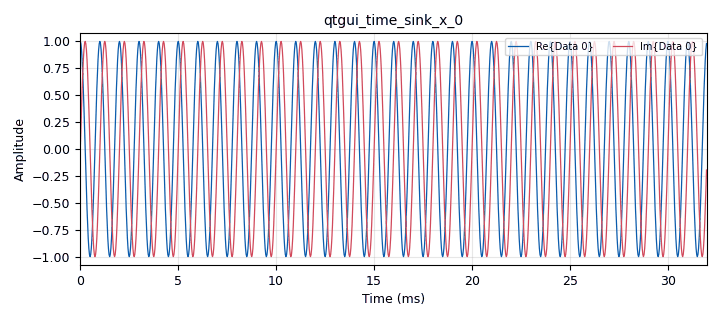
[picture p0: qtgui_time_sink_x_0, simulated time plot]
<?xml version='1.0' encoding='utf-8'?>
<?grc format='1' created='3.7.11'?>
<flow_graph>
<block>
<key>options</key>
<param><key>id</key><value>top_block</value></param>
<param><key>generate_options</key><value>qt_gui</value></param>
</block>
<block>
<key>variable</key>
<param><key>id</key><value>samp_rate</value></param>
<param><key>value</key><value>32000</value></param>
</block>
<block>
<key>analog_sig_source_x</key>
<param><key>id</key><value>analog_sig_source_x_0</value></param>
<param><key>amp</key><value>1</value></param>
<param><key>freq</key><value>1000</value></param>
<param><key>offset</key><value>0</value></param>
<param><key>type</key><value>complex</value></param>
<param><key>samp_rate</key><value>samp_rate</value></param>
<param><key>waveform</key><value>analog.GR_COS_WAVE</value></param>
</block>
<block>
<key>analog_sig_source_x</key>
<param><key>id</key><value>analog_sig_source_x_1</value></param>
<param><key>amp</key><value>1</value></param>
<param><key>freq</key><value>2000</value></param>
<param><key>offset</key><value>0</value></param>
<param><key>type</key><value>complex</value></param>
<param><key>samp_rate</key><value>samp_rate</value></param>
<param><key>waveform</key><value>analog.GR_COS_WAVE</value></param>
</block>
<block>
<key>analog_sig_source_x</key>
<param><key>id</key><value>analog_sig_source_x_2</value></param>
<param><key>amp</key><value>1</value></param>
<param><key>freq</key><value>3000</value></param>
<param><key>offset</key><value>0</value></param>
<param><key>type</key><value>complex</value></param>
<param><key>samp_rate</key><value>samp_rate</value></param>
<param><key>waveform</key><value>analog.GR_COS_WAVE</value></param>
</block>
<block>
<key>analog_sig_source_x</key>
<param><key>id</key><value>analog_sig_source_x_3</value></param>
<param><key>amp</key><value>1</value></param>
<param><key>freq</key><value>4000</value></param>
<param><key>offset</key><value>0</value></param>
<param><key>type</key><value>complex</value></param>
<param><key>samp_rate</key><value>samp_rate</value></param>
<param><key>waveform</key><value>analog.GR_COS_WAVE</value></param>
</block>
<block>
<key>analog_sig_source_x</key>
<param><key>id</key><value>analog_sig_source_x_4</value></param>
<param><key>amp</key><value>1</value></param>
<param><key>freq</key><value>5000</value></param>
<param><key>offset</key><value>0</value></param>
<param><key>type</key><value>complex</value></param>
<param><key>samp_rate</key><value>samp_rate</value></param>
<param><key>waveform</key><value>analog.GR_COS_WAVE</value></param>
</block>
<block>
<key>analog_sig_source_x</key>
<param><key>id</key><value>analog_sig_source_x_5</value></param>
<param><key>amp</key><value>1</value></param>
<param><key>freq</key><value>1000</value></param>
<param><key>offset</key><value>0</value></param>
<param><key>type</key><value>complex</value></param>
<param><key>samp_rate</key><value>samp_rate</value></param>
<param><key>waveform</key><value>analog.GR_COS_WAVE</value></param>
</block>
<block>
<key>blocks_message_debug</key>
<param><key>id</key><value>blocks_message_debug_0</value></param>
</block>
<block>
<key>epy_block</key>
<param><key>id</key><value>epy_block_0</value></param>
<param><key>_source_code</key><value>"""
Embedded Python Blocks:

Each time this file is saved, GRC will instantiate the first class it finds
to get ports and parameters of your block. The arguments to __init__  will
be the parameters. All of them are required to have default values!
"""

import numpy as np
from gnuradio import gr
import pmt

class blk(gr.sync_block):  # other base classes are basic_block, decim_block, interp_block
    """Embedded Python Block example - a simple multiply const"""

    def __init__(self):  # only default arguments here
        """arguments to this function show up as parameters in GRC"""
        gr.sync_block.__init__(
            self,
            name='Multiplexer',   # will show up in GRC
            in_sig=[np.complex64, np.complex64, np.complex64, np.complex64, np.complex64],
            out_sig=[np.complex64]
        )
        # if an attribute with the same name as a parameter is found,
        # a callback is registered (properties work, too).
        self.selectPortName= 'selectPort'
        self.message_port_register_in(pmt.intern(self.selectPortName))
        self.set_msg_handler(pmt.intern(self.selectPortName), self.handle_msg)
        self.selector = 0
    
    def handle_msg(self, msg):
        self.selector = pmt.to_long(msg)
    
    def work(self, input_items, output_items):
        """example: multiply with constant"""
        if(self.selector == 0):
            output_items[0][:] = input_items[0]
        elif(self.selector == 1):
            output_items[0][:] = input_items[1]
        elif(self.selector == 2):
            output_items[0][:] = input_items[2]
        elif(self.selector == 3):
            output_items[0][:] = input_items[3]
        else:
            output_items[0][:] = input_items[4]
        return len(output_items[0])
</value></param>
</block>
<block>
<key>epy_block</key>
<param><key>id</key><value>epy_block_1</value></param>
<param><key>_source_code</key><value>"""
Embedded Python Blocks:

Each time this file is saved, GRC will instantiate the first class it finds
to get ports and parameters of your block. The arguments to __init__  will
be the parameters. All of them are required to have default values!
"""

import numpy as np
from gnuradio import gr
import pmt

class blk(gr.sync_block):  # other base classes are basic_block, decim_block, interp_block
    """Embedded Python Block example - a simple multiply const"""

    def __init__(self, Num_Samples_To_Count=128):  # only default arguments here
        """arguments to this function show up as parameters in GRC"""
        gr.sync_block.__init__(
            self,
            name='Select Control',   # will show up in GRC
            in_sig=[np.complex64],
            out_sig=[np.complex64]
        )
        # if an attribute with the same name as a parameter is found,
        # a callback is registered (properties work, too).
        self.Num_Samples_To_Count = Num_Samples_To_Count
        self.portName = 'messageOutput'
        self.message_port_register_out(pmt.intern(self.portName))
        self.state = 0
        self.counter = 0

    def work(self, input_items, output_items):
        """example: multiply with constant"""
        self.counter = self.counter + len(output_items[0])
        
        if (self.counter &gt; self.Num_Samples_To_Count):
            PMT_msg = pmt.from_long(self.state)
            self.message_port_pub(pmt.intern(self.portName), PMT_msg)
            self.state = (self.state + 1) % 5
            self.counter = 0
            
        output_items[0][:]=input_items[0]
        return len(output_items[0])
</value></param>
<param><key>Num_Samples_To_Count</key><value>32000000</value></param>
</block>
<block>
<key>qtgui_time_sink_x</key>
<param><key>id</key><value>qtgui_time_sink_x_0</value></param>
<param><key>color1</key><value>"blue"</value></param>
<param><key>label1</key><value></value></param>
<param><key>color2</key><value>"red"</value></param>
<param><key>label2</key><value></value></param>
<param><key>size</key><value>1024</value></param>
<param><key>srate</key><value>samp_rate</value></param>
<param><key>type</key><value>complex</value></param>
</block>
<block>
<key>qtgui_time_sink_x</key>
<param><key>id</key><value>qtgui_time_sink_x_1</value></param>
<param><key>color1</key><value>"blue"</value></param>
<param><key>label1</key><value></value></param>
<param><key>color2</key><value>"red"</value></param>
<param><key>label2</key><value></value></param>
<param><key>size</key><value>1024</value></param>
<param><key>srate</key><value>samp_rate</value></param>
<param><key>type</key><value>complex</value></param>
</block>
<block>
<key>uhd_usrp_sink</key>
<param><key>id</key><value>uhd_usrp_sink_0</value></param>
<param><key>ant0</key><value>TX/RX</value></param>
<param><key>bw0</key><value>100</value></param>
<param><key>center_freq0</key><value>2400e6</value></param>
<param><key>norm_gain0</key><value>False</value></param>
<param><key>gain0</key><value>45</value></param>
<param><key>clock_rate</key><value>0.0</value></param>
<param><key>dev_args</key><value>""</value></param>
<param><key>type</key><value>fc32</value></param>
<param><key>samp_rate</key><value>samp_rate</value></param>
<param><key>hide_cmd_port</key><value>False</value></param>
<param><key>hide_lo_controls</key><value>True</value></param>
<param><key>sync</key><value></value></param>
<param><key>len_tag_name</key><value></value></param>
</block>
<block>
<key>uhd_usrp_source</key>
<param><key>id</key><value>uhd_usrp_source_0</value></param>
<param><key>ant0</key><value>RX2</value></param>
<param><key>center_freq0</key><value>2400e6</value></param>
<param><key>dc_offs_enb0</key><value>""</value></param>
<param><key>iq_imbal_enb0</key><value>""</value></param>
<param><key>norm_gain0</key><value>False</value></param>
<param><key>gain0</key><value>45</value></param>
<param><key>clock_rate</key><value>0.0</value></param>
<param><key>dev_args</key><value>""</value></param>
<param><key>type</key><value>fc32</value></param>
<param><key>samp_rate</key><value>samp_rate</value></param>
<param><key>hide_cmd_port</key><value>False</value></param>
<param><key>hide_lo_controls</key><value>True</value></param>
<param><key>sync</key><value></value></param>
</block>
<connection><source_block_id>analog_sig_source_x_0</source_block_id><sink_block_id>epy_block_0</sink_block_id><source_key>0</source_key><sink_key>0</sink_key></connection>
<connection><source_block_id>analog_sig_source_x_1</source_block_id><sink_block_id>epy_block_0</sink_block_id><source_key>0</source_key><sink_key>1</sink_key></connection>
<connection><source_block_id>analog_sig_source_x_2</source_block_id><sink_block_id>epy_block_0</sink_block_id><source_key>0</source_key><sink_key>2</sink_key></connection>
<connection><source_block_id>analog_sig_source_x_3</source_block_id><sink_block_id>epy_block_0</sink_block_id><source_key>0</source_key><sink_key>3</sink_key></connection>
<connection><source_block_id>analog_sig_source_x_4</source_block_id><sink_block_id>epy_block_0</sink_block_id><source_key>0</source_key><sink_key>4</sink_key></connection>
<connection><source_block_id>analog_sig_source_x_5</source_block_id><sink_block_id>epy_block_1</sink_block_id><source_key>0</source_key><sink_key>0</sink_key></connection>
<connection><source_block_id>epy_block_0</source_block_id><sink_block_id>uhd_usrp_sink_0</sink_block_id><source_key>0</source_key><sink_key>0</sink_key></connection>
<connection><source_block_id>epy_block_1</source_block_id><sink_block_id>blocks_message_debug_0</sink_block_id><source_key>messageOutput</source_key><sink_key>print</sink_key></connection>
<connection><source_block_id>epy_block_1</source_block_id><sink_block_id>epy_block_0</sink_block_id><source_key>messageOutput</source_key><sink_key>selectPort</sink_key></connection>
<connection><source_block_id>epy_block_1</source_block_id><sink_block_id>qtgui_time_sink_x_0</sink_block_id><source_key>0</source_key><sink_key>0</sink_key></connection>
<connection><source_block_id>uhd_usrp_source_0</source_block_id><sink_block_id>qtgui_time_sink_x_1</sink_block_id><source_key>0</source_key><sink_key>0</sink_key></connection>
</flow_graph>
